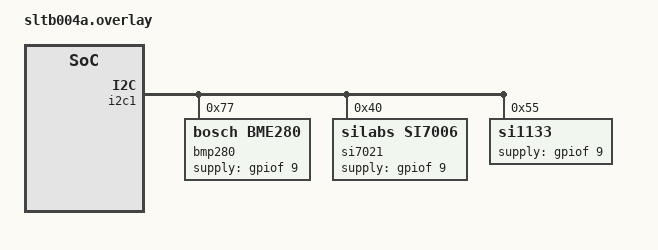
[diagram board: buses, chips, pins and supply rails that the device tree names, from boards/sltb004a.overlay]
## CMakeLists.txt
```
set(ENV{EXTRA_ZEPHYR_MODULES}
    "/home/niall/csse4011/repo/mycode/p2/t2/mylib_sensors;/home/niall/csse4011/repo/mycode/p2/t1/mylib_clock;/home/niall/csse4011/repo/mycode/p2/t3/mylib_shell"
)

cmake_minimum_required(VERSION 3.20.0)
find_package(Zephyr REQUIRED HINTS $ENV{ZEPHYR_BASE})
project(mylib_shell-tapp)

FILE(GLOB tapp_sources src/*.c)
target_sources(app PRIVATE ${tapp_sources})
```

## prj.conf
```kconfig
CONFIG_MYLIB_CLOCK=y
CONFIG_MYLIB_SENSORS=y

CONFIG_MYLIB_SHELL=y
```

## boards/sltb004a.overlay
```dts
/ {
    aliases {
        test-from-app = &i2c0;
    };
};

/* This set selects for ENV_I2C according to schematic*/
/* supporting PMP280(pressure), Si7021(Humidity/Temp), Si1133(UV/Light) */
&pinctrl {
	i2c1_env_default: i2c1_env_default {
		group1 {
			psels = <GECKO_PSEL(I2C_SDA, C, 4)>,
				<GECKO_PSEL(I2C_SCL, C, 5)>,
				<GECKO_LOC(I2C_SDA, 17)>,
				<GECKO_LOC(I2C_SCL, 17)>;
		};
	};
};

&i2c1 {
    status = "okay";

    /* Use the pincntrl we configured */
    pinctrl-0 = <&i2c1_env_default>;

    /* Set the pincntrl for default use */
    pinctrl-names = "default";

    /* Disable the ccs811 sensor using I2C1 */
    ccs811: ccs811@5a {
        status = "disabled";
    };

    /* Node for bmp280 -> compatible with bosch_bme280 */
    bmp280: bmp280@77 {
        compatible = "bosch,bme280";
        reg = <0x77>; /* I2C register */
        supply-gpios = <&gpiof 9 GPIO_ACTIVE_HIGH>;
        status = "okay";
    };

    /* Node for si7021 -> compatible with silabs_si7006 */
	si7021: si7021@40 {
		compatible = "silabs,si7006";
		reg = <0x40>; /* I2C register */
		supply-gpios = <&gpiof 9 GPIO_ACTIVE_HIGH>;
        status = "okay";
	};

    /* Node for si1133 -> will need to bitbang */
    si1133: si1133@55 {
        /* comatible =  ...with nobody ...forever alone */
		reg = <0x55>; /* I2C register */
		supply-gpios = <&gpiof 9 GPIO_ACTIVE_HIGH>;
        /* irq-gpios = <&gpiof 11 GPIO_ACTIVE_LOW>; ...might not need */
        status = "okay";
    };
};
```

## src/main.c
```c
#include <mylib_clock_rtcc.h>

int main(void)
{
    rtcc_setup();
}
```
